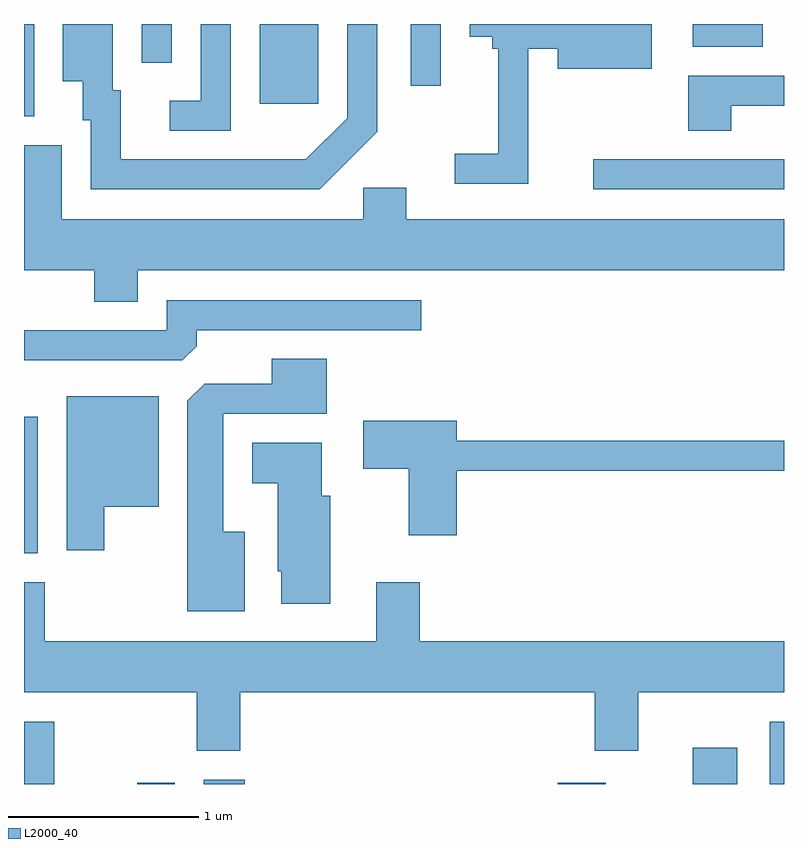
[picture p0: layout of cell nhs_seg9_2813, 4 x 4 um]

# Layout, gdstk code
import gdstk
lib = gdstk.Library(unit=1e-6, precision=1e-09)
def R(c, l, rs):  # rectangles x0, y0, x1, y1
    for r in rs: c.add(gdstk.rectangle(r[:2], r[2:], *l))
def P(c, l, *ps):  # polygons
    for p in ps: c.add(gdstk.Polygon(p, *l))
L2000_40 = (2000, 40)

nhs_seg9_2813 = lib.new_cell('nhs_seg9_2813')
R(nhs_seg9_2813, L2000_40, [(267.611,2002.432,267.769,2002.759), (268.206,2002.432,268.404,2002.439), (268.556,2002.432,268.774,2002.454), (270.421,2002.432,270.674,2002.439), (271.131,2002.432,271.364,2002.624), (271.536,2002.432,271.611,2002.759), (267.611,2003.646,267.684,2004.364), (270.608,2005.561,271.611,2005.719), (267.611,2005.946,267.664,2006.432), (268.851,2006.011,269.159,2006.432), (269.646,2006.108,269.804,2006.432), (268.231,2006.228,268.389,2006.432), (271.131,2006.311,271.499,2006.432)])
P(nhs_seg9_2813, L2000_40, [(268.699,2006.432),(268.541,2006.432),(268.541,2006.029),(268.378,2006.029),(268.378,2005.871),(268.699,2005.871)],
  [(270.264,2006.301),(270.421,2006.301),(270.421,2006.196),(270.914,2006.196),(270.914,2006.432),(269.956,2006.432),(269.956,2006.366),(270.076,2006.366),(270.076,2006.301),(270.106,2006.301),(270.106,2005.749),(269.878,2005.749),(269.878,2005.591),(270.264,2005.591)],
  [(269.469,2005.864),(269.469,2006.432),(269.311,2006.432),(269.311,2005.937),(269.094,2005.719),(268.119,2005.719),(268.119,2006.084),(268.079,2006.084),(268.079,2006.432),(267.816,2006.432),(267.816,2006.131),(267.921,2006.131),(267.921,2005.926),(267.961,2005.926),(267.961,2005.561),(269.167,2005.561)],
  [(271.334,2006.001),(271.611,2006.001),(271.611,2006.159),(271.106,2006.159),(271.106,2005.871),(271.334,2005.871)],
  [(268.209,2005.136),(271.611,2005.136),(271.611,2005.404),(269.624,2005.404),(269.624,2005.569),(269.396,2005.569),(269.396,2005.404),(267.809,2005.404),(267.809,2005.794),(267.611,2005.794),(267.611,2005.136),(267.981,2005.136),(267.981,2004.971),(268.209,2004.971)],
  [(268.519,2004.737),(268.519,2004.821),(269.703,2004.821),(269.703,2004.979),(268.361,2004.979),(268.361,2004.819),(267.611,2004.819),(267.611,2004.661),(268.444,2004.661)],
  [(268.774,2003.759),(268.659,2003.759),(268.659,2004.381),(269.204,2004.381),(269.204,2004.669),(268.916,2004.669),(268.916,2004.539),(268.562,2004.539),(268.471,2004.449),(268.471,2003.341),(268.774,2003.341)],
  [(268.034,2003.891),(268.319,2003.891),(268.319,2004.474),(267.836,2004.474),(267.836,2003.661),(268.034,2003.661)],
  [(269.889,2004.081),(271.611,2004.081),(271.611,2004.239),(269.889,2004.239),(269.889,2004.344),(269.396,2004.344),(269.396,2004.091),(269.636,2004.091),(269.636,2003.741),(269.889,2003.741)],
  [(269.224,2003.949),(269.179,2003.949),(269.179,2004.229),(268.811,2004.229),(268.811,2004.016),(268.946,2004.016),(268.946,2003.551),(268.966,2003.551),(268.966,2003.381),(269.224,2003.381)],
  [(268.749,2002.916),(270.616,2002.916),(270.616,2002.606),(270.844,2002.606),(270.844,2002.916),(271.611,2002.916),(271.611,2003.184),(269.694,2003.184),(269.694,2003.494),(269.466,2003.494),(269.466,2003.184),(267.719,2003.184),(267.719,2003.494),(267.611,2003.494),(267.611,2002.916),(268.521,2002.916),(268.521,2002.606),(268.749,2002.606)])

lib.write_gds('nhs_seg9_2813.gds')
